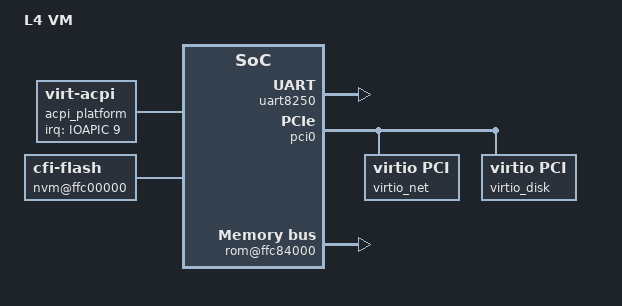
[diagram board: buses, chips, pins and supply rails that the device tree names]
/*
 * Device tree for a virtual machine without any hardware pass-through.
 *
 * Information sources:
 *  https://github.com/devicetree-org/devicetree-specification/releases/tag/v0.3
 *  For PCI reg cell encoding:
 *    [1] https://www.devicetree.org/open-firmware/bindings/pci/pci2_1.pdf
 *  For (E)ISA reg cell encoding:
 *    [2] https://www.devicetree.org/open-firmware/bindings/isa/isa0_4d.ps
 */

/dts-v1/;

/include/ "skeleton64.dtsi"

#define CPU(x) cpu##x: cpu@x {                \
                 device_type = "cpu";         \
                 compatible = "virt-intel";   \
                 reg = <x>;                   \
               }

/ {
        model = "L4 VM";
        compatible = "l4,virt", "linux,dummy-virt";

        memory@0 {
            device_type = "memory";
            reg = <0x0 0x00000000 0x0 0x80000000
                   0x1 0x00000000 0xffffffff 0x0>;
            l4vmm,dscap = "ram";
        };

        IOAPIC: ioapic {
            compatible = "intel,ioapic";
            interrupt-controller;
            msi-parent = <&msi_ctrl>;
            #address-cells = <0>;
            #interrupt-cells = <1>;
        };

        msi_ctrl: msictrl {
            compatible = "intel,msi-controller";
            msi-controller;
            #msi-cells = <0>;
        };

        cpus {
          #address-cells = <1>;
          #size-cells = <0>;

          CPU(0);
          CPU(1);
          CPU(2);
          CPU(3);
          CPU(4);
          CPU(5);
          CPU(6);
          CPU(7);
          CPU(8);
          CPU(9);
          CPU(10);
          CPU(11);
          CPU(12);
          CPU(13);
          CPU(14);
          CPU(15);
          CPU(16);
          CPU(17);
          CPU(18);
          CPU(19);
          CPU(20);
          CPU(21);
          CPU(22);
          CPU(23);
          CPU(24);
          CPU(25);
          CPU(26);
          CPU(27);
          CPU(28);
          CPU(29);
          CPU(30);
          CPU(31);
        };

        pit {
          compatible = "virt-pit";
          reg = <0x0 0x0 0x0 0x0>;
          interrupt-parent = <&IOAPIC>;
          interrupts = <0>;
        };

        acpi_platform {
          compatible = "virt-acpi";
          interrupt-parent = <&IOAPIC>;
          interrupts = <9>;
        };

        acpi_timer {
           compatible = "acpi-timer";
        };

        rtc {
            compatible = "virt-rtc";
            interrupt-parent = <&IOAPIC>;
            interrupts = <8>;
            reg = <0x0 0x0 0x0 0x0>;
        };

        uart8250 {
          compatible = "ns8250", "uart,8250";
          reg = <0x0 0x0 0x0 0x0>;
          interrupt-parent = <&IOAPIC>;
          interrupts = <4>;
          /* Redirecting to another vcon channel is possible: */
          /* l4vmm,vcon_cap = "uart"; */
        };

        l4rtc {
            compatible = "l4rtc";
            l4vmm,rtccap = "rtc";
        };

        kvm_clock {
            compatible = "kvm-clock";
            reg = <0x0 0x0 0x0 0x0>;
        };

        isa {
            device_type = "eisa";
            #address-cells = <2>;
            #size-cells = <1>;
            // The first cell of a child nodes reg property encodes the
            // following information. See the ISA bus device-tree binding [2]
            // for more details:
            //
            //  [2] 11-bit aliased (IOPORT only)
            //  [1] 10-bit aliased (IOPORT only)
            //  [0] 0=MMIO32, 1=IOPORT
            //
            // The standard ranges property defines the translation of child
            // reg address entries into the parent address space. Effectively
            // removes the upper word. For the purpose of the ISA translation,
            // only bit [0] is considered of the first word.
            ranges = <0x0 0x0 0x0 0x0 0xffffffff
                      0x1 0x0 0x0 0x0     0x1000>;

            // example {
            //    reg = < 0x0 0xA0000 0x20000     // MMIO [0xA0000-0xBFFFF]
            //            0x1   0x3C0    0x20 >   // IO   [0x3C0-0x3DF]
            // }

            isa_debugport {
                compatible = "l4vmm,isa-debugport";
                reg = <0x1 0x402 0x1>;
                l4vmm,vcon_cap = "debug";
            };

            qemu_fw_if {
                compatible = "l4vmm,qemu-fw-cfg";
                l4vmm,kernel = "";
                l4vmm,ramdisk = "";
                l4vmm,cmdline = "";
                reg = <0x1 0x510 0x0c>;
            };
        };

        pci0: pci@aa000000 {
            compatible = "virt-pci-bridge";
            device_type = "pci";
            interrupt-parent = <&IOAPIC>;
            msi-parent = <&msi_ctrl>;
            bus-range = <0x0 0xff>;
            #address-cells = <3>;
            #size-cells = <2>;
            #interrupt-cells = <1>;

            // The first cell encodes the following information. See the PCI
            // bus device-tree binding [1] for more details:
            //
            //  [31]    non-relocatable
            //  [30]    prefetchable
            //  [29]    aliased
            //  [25:24] 0=CFGSPACE, 1=IOPORT, 2=MMIO32, 3=MMIO64
            //  [23:16] bus
            //  [15:11] device
            //  [10:8]  function
            //  [7:0]   register (used to indicate BAR register, e.g. 0x10)
            //
            // The standard ranges property defines the translation of child
            // reg address entries into the parent address space. Effectively
            // removes the upper word. For the purpose of the PCI translation,
            // only bits [25:24] are considered of the first word.
            //
            // Attention: the ranges property is parsed by uvmm and by the
            // firmware to detect the bridge windows!
            ranges = <0x01000000 0x0 0x00006000 0x0 0x00006000 0x0    0x5000
                      0x02000000 0x0 0xaa000000 0x0 0xaa000000 0x0 0x1000000
                      0x03000000 0x3 0x00000000 0x3 0x00000000 0x1 0x00000000>;

            // ECAM MCFG window
            reg = <0x00 0xb0000000 0x00 0x10000000>;

            // Every virtual device needs a cfgspace address as first reg
            // entry. Currently uvmm will ignore the bus/device/function
            // address, though.

            virtio_uart@0 {
              compatible = "virtio,pci";
              // The register property is required to be structured as follows:
              //    reg 0: CFGSPACE address
              //    reg 1: BAR[0] MMIO memory region for the MSIX table: 2 pages.
              //    reg 2: BAR[1] IO port range for the device configuration.
              // The address of all entries should be 0 because it's defined as
              // *offset* from the associated BAR register.
              reg = <0x00000000 0x0 0x0 0x0 0x0000
                     0x02000010 0x0 0x0 0x0 0x2000
                     0x01000014 0x0 0x0 0x0   0x80>;
              msi-parent = <&msi_ctrl>;
              l4vmm,vdev = "console";
              /* Emulated UART is used by default for best bring-up
              * experience */
              status = "disabled";
            };

            virtio_net@1 {
                compatible = "virtio,pci";
                // The reg property requirements are described in virtio_uart.
                reg = <0x00000800 0x0 0x0 0x0 0x0000
                       0x02000810 0x0 0x0 0x0 0x2000
                       0x01000814 0x0 0x0 0x0 0x80>;
                msi-parent = <&msi_ctrl>;
                l4vmm,virtiocap = "net";
                l4vmm,vdev = "proxy";
            };

            virtio_disk@2 {
                compatible = "virtio,pci";
                // The reg property requirements are described in virtio_uart.
                reg = <0x00001000 0x0 0x0 0x0 0x0000
                       0x02001010 0x0 0x0 0x0 0x2000
                       0x01001014 0x0 0x0 0x0 0x100>;
                msi-parent = <&msi_ctrl>;
                l4vmm,virtiocap = "qdrv";
                l4vmm,vdev = "proxy";
            };
        };

        rom@ffc84000 {
            compatible = "l4vmm,rom";
            reg = <0x0 0xffc84000 0x0 0x37c000>;
            l4vmm,dscap = "bios_code";
        };

        nvm@ffc00000 {
            compatible = "cfi-flash";
            reg = <0x0 0xffc00000 0x0 0x84000>;
            l4vmm,dscap = "bios_vars";
            erase-size = <4>;
            bank-width = <4>;
        };
};
